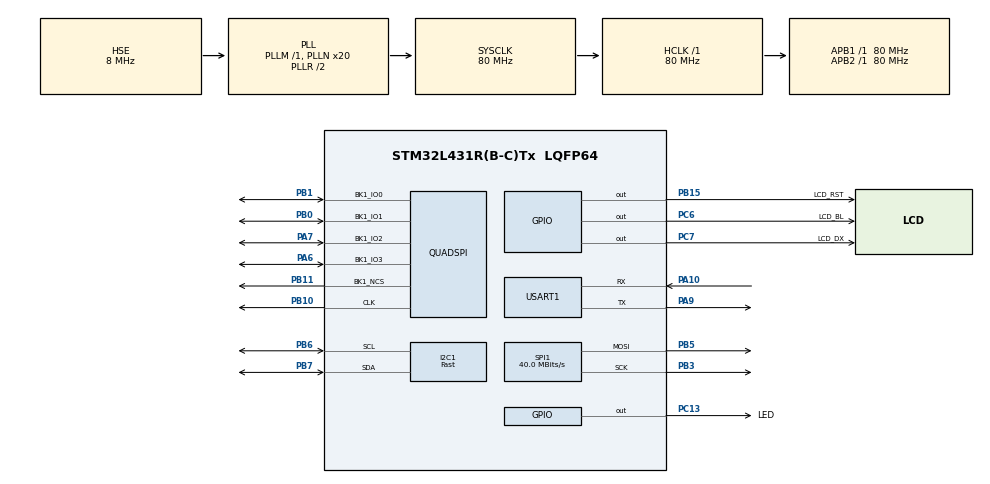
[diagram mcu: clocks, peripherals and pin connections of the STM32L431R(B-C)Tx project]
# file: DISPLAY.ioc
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Dma.Request0=SPI1_TX
Dma.SPI1_TX.0.Direction=DMA_MEMORY_TO_PERIPH
Dma.SPI1_TX.0.Instance=DMA1_Channel3
Dma.SPI1_TX.0.MemDataAlignment=DMA_MDATAALIGN_BYTE
Dma.SPI1_TX.0.MemInc=DMA_MINC_ENABLE
Dma.SPI1_TX.0.Mode=DMA_NORMAL
Dma.SPI1_TX.0.PeriphDataAlignment=DMA_PDATAALIGN_BYTE
Dma.SPI1_TX.0.PeriphInc=DMA_PINC_DISABLE
Dma.SPI1_TX.0.Priority=DMA_PRIORITY_LOW
I2C1.I2C_Speed_Mode=I2C_Fast
I2C1.Timing=0x00702991
Mcu.Family=STM32L4
Mcu.Name=STM32L431R(B-C)Tx
Mcu.Package=LQFP64
NVIC.DMA1_Channel3_IRQn=true\:0\:0\:false\:false\:true\:false\:true\:true
NVIC.PriorityGroup=NVIC_PRIORITYGROUP_4
NVIC.SPI1_IRQn=true\:0\:0\:false\:false\:true\:true\:true\:true
NVIC.TIM6_DAC_IRQn=true\:0\:0\:false\:false\:true\:true\:true\:true
NVIC.TIM7_IRQn=true\:15\:0\:false\:false\:true\:false\:true\:true
NVIC.TimeBase=TIM7_IRQn
NVIC.TimeBaseIP=TIM7
PA10.Mode=Asynchronous
PA10.Signal=USART1_RX
PA13\ (JTMS-SWDIO).Mode=Serial_Wire
PA13\ (JTMS-SWDIO).Signal=SYS_JTMS-SWDIO
PA14\ (JTCK-SWCLK).Mode=Serial_Wire
PA14\ (JTCK-SWCLK).Signal=SYS_JTCK-SWCLK
PA6.Mode=Single Bank 1
PA6.Signal=QUADSPI_BK1_IO3
PA7.Mode=Single Bank 1
PA7.Signal=QUADSPI_BK1_IO2
PA9.Mode=Asynchronous
PA9.Signal=USART1_TX
PB0.Mode=Single Bank 1
PB0.Signal=QUADSPI_BK1_IO1
PB1.Mode=Single Bank 1
PB1.Signal=QUADSPI_BK1_IO0
PB10.Mode=Single Bank 1
PB10.Signal=QUADSPI_CLK
PB11.Mode=Single Bank 1
PB11.Signal=QUADSPI_BK1_NCS
PB15.GPIO_Label=LCD_RST
PB15.GPIO_PuPd=GPIO_PULLUP
PB15.Signal=GPIO_Output
PB3\ (JTDO-TRACESWO).GPIO_PuPd=GPIO_PULLDOWN
PB3\ (JTDO-TRACESWO).Mode=TX_Only_Simplex_Unidirect_Master
PB3\ (JTDO-TRACESWO).Signal=SPI1_SCK
PB5.GPIO_PuPd=GPIO_PULLDOWN
PB5.Mode=TX_Only_Simplex_Unidirect_Master
PB5.Signal=SPI1_MOSI
PB6.Mode=I2C
PB6.Signal=I2C1_SCL
PB7.Mode=I2C
PB7.Signal=I2C1_SDA
PC13.GPIO_Label=LED
PC13.GPIO_PuPd=GPIO_PULLDOWN
PC13.PinState=GPIO_PIN_SET
PC13.Signal=GPIO_Output
PC6.GPIO_Label=LCD_BL
PC6.GPIO_PuPd=GPIO_PULLUP
PC6.Signal=GPIO_Output
PC7.GPIO_Label=LCD_DX
PC7.GPIO_PuPd=GPIO_PULLUP
PC7.GPIO_Speed=GPIO_SPEED_FREQ_VERY_HIGH
PC7.PinState=GPIO_PIN_SET
PC7.Signal=GPIO_Output
PH0-OSC_IN\ (PH0).Mode=HSE-External-Oscillator
PH0-OSC_IN\ (PH0).Signal=RCC_OSC_IN
PH1-OSC_OUT\ (PH1).Mode=HSE-External-Oscillator
PH1-OSC_OUT\ (PH1).Signal=RCC_OSC_OUT
ProjectManager.HeapSize=0x400
ProjectManager.StackSize=0x800
ProjectManager.TargetToolchain=MDK-ARM V5.32
QUADSPI.ChipSelectHighTime=QSPI_CS_HIGH_TIME_4_CYCLE
QUADSPI.ClockPrescaler=0
QUADSPI.FifoThreshold=4
QUADSPI.FlashSize=24
QUADSPI.SampleShifting=QSPI_SAMPLE_SHIFTING_HALFCYCLE
RCC.ADCFreq_Value=32000000
RCC.AHBFreq_Value=80000000
RCC.APB1Freq_Value=80000000
RCC.APB1TimFreq_Value=80000000
RCC.APB2Freq_Value=80000000
RCC.APB2TimFreq_Value=80000000
RCC.CortexFreq_Value=80000000
RCC.HCLKFreq_Value=80000000
RCC.HSE_VALUE=8000000
RCC.HSI48_VALUE=48000000
RCC.HSI_VALUE=16000000
RCC.LSE_VALUE=32768
RCC.MSI_VALUE=4000000
RCC.PLLN=20
RCC.PLLSourceVirtual=RCC_PLLSOURCE_HSE
RCC.SYSCLKFreq_VALUE=80000000
RCC.SYSCLKSource=RCC_SYSCLKSOURCE_PLLCLK
RCC.VCOOutputFreq_Value=160000000
SPI1.BaudRatePrescaler=SPI_BAUDRATEPRESCALER_2
SPI1.CLKPhase=SPI_PHASE_2EDGE
SPI1.CLKPolarity=SPI_POLARITY_HIGH
SPI1.CalculateBaudRate=40.0 MBits/s
SPI1.DataSize=SPI_DATASIZE_8BIT
SPI1.Direction=SPI_DIRECTION_2LINES
SPI1.Mode=SPI_MODE_MASTER
SPI1.VirtualType=VM_MASTER
TIM6.AutoReloadPreload=TIM_AUTORELOAD_PRELOAD_ENABLE
TIM6.Period=1000
TIM6.Prescaler=79
TIM6.TIM_MasterOutputTrigger=TIM_TRGO_ENABLE
USART1.VirtualMode-Asynchronous=VM_ASYNC
VP_CRC_VS_CRC.Mode=CRC_Activate
VP_SYS_VS_tim7.Mode=TIM7
VP_TIM6_VS_ClockSourceINT.Mode=Enable_Timer
board=custom

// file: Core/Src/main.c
/* USER CODE BEGIN Header */
/**
  ******************************************************************************
  * @file           : main.c
  * @brief          : Main program body
  ******************************************************************************
  * @attention
  *
  * <h2><center>&copy; Copyright (c) 2022 STMicroelectronics.
  * All rights reserved.</center></h2>
  *
  * This software component is licensed by ST under BSD 3-Clause license,
  * the "License"; You may not use this file except in compliance with the
  * License. You may obtain a copy of the License at:
  *                        opensource.org/licenses/BSD-3-Clause
  *
  ******************************************************************************
  */
/* USER CODE END Header */
#include "main.h"
#include "crc.h"
#include "dma.h"
#include "i2c.h"
#include "spi.h"
#include "tim.h"
#include "usart.h"
#include "gpio.h"

/* USER CODE BEGIN Includes */
#include "st7789.h"
#include "norflash.h"
#include "ns2009.h"
#include "stdio.h"
#include "quadspi.h"
#include "lvgl.h"
#include "disp.h"
#include "indev.h"
#include "../../UI/simple_demo.h"
/* USER CODE END Includes */

/* USER CODE BEGIN PV */
#ifdef __GNUC__
#define PUTCHAR_PROTOTYPE int __io_putchar(int ch)
#else
#define PUTCHAR_PROTOTYPE int fputc(int ch, FILE *f)
#endif
PUTCHAR_PROTOTYPE { HAL_UART_Transmit(&huart1 , (uint8_t *)&ch, 1, 0xFFFF); return ch; }

void toggle_led(void);

/* USER CODE END PV */

void SystemClock_Config(void);

int main(void)
{

  /* MCU Configuration--------------------------------------------------------*/

  /* Reset of all peripherals, Initializes the Flash interface and the Systick. */
  HAL_Init();

  /* Configure the system clock */
  SystemClock_Config();

  /* USER CODE BEGIN SysInit */
  MX_QUADSPI_Init();
	NORFLASH_Init();
  /* USER CODE END SysInit */

  /* Initialize all configured peripherals */
  MX_GPIO_Init();
  MX_DMA_Init();
  MX_SPI1_Init();
  MX_CRC_Init();
  MX_TIM6_Init();
  MX_I2C1_Init();
  MX_USART1_UART_Init();
  /* USER CODE BEGIN 2 */
	bsp_ns2009_init();
	ST7789_Init();
	HAL_TIM_Base_Start_IT(&htim6);

	lv_init();
	lv_disp_init();
	indev_init();

	simple_demo();

  /* USER CODE END 2 */

  /* Infinite loop */
  /* USER CODE BEGIN WHILE */
  while (1)
  {
		lv_timer_handler();
		HAL_Delay(2);
    /* USER CODE END WHILE */

  }
}

void SystemClock_Config(void)
{
  RCC_OscInitTypeDef RCC_OscInitStruct = {0};
  RCC_ClkInitTypeDef RCC_ClkInitStruct = {0};

  /** Configure the main internal regulator output voltage
  */
  if (HAL_PWREx_ControlVoltageScaling(PWR_REGULATOR_VOLTAGE_SCALE1) != HAL_OK)
  {
    Error_Handler();
  }

  /** Initializes the RCC Oscillators according to the specified parameters
  * in the RCC_OscInitTypeDef structure.
  */
  RCC_OscInitStruct.OscillatorType = RCC_OSCILLATORTYPE_HSE;
  RCC_OscInitStruct.HSEState = RCC_HSE_ON;
  RCC_OscInitStruct.PLL.PLLState = RCC_PLL_ON;
  RCC_OscInitStruct.PLL.PLLSource = RCC_PLLSOURCE_HSE;
  RCC_OscInitStruct.PLL.PLLM = 1;
  RCC_OscInitStruct.PLL.PLLN = 20;
  RCC_OscInitStruct.PLL.PLLP = RCC_PLLP_DIV7;
  RCC_OscInitStruct.PLL.PLLQ = RCC_PLLQ_DIV2;
  RCC_OscInitStruct.PLL.PLLR = RCC_PLLR_DIV2;
  if (HAL_RCC_OscConfig(&RCC_OscInitStruct) != HAL_OK)
  {
    Error_Handler();
  }

  /** Initializes the CPU, AHB and APB buses clocks
  */
  RCC_ClkInitStruct.ClockType = RCC_CLOCKTYPE_HCLK|RCC_CLOCKTYPE_SYSCLK
                              |RCC_CLOCKTYPE_PCLK1|RCC_CLOCKTYPE_PCLK2;
  RCC_ClkInitStruct.SYSCLKSource = RCC_SYSCLKSOURCE_PLLCLK;
  RCC_ClkInitStruct.AHBCLKDivider = RCC_SYSCLK_DIV1;
  RCC_ClkInitStruct.APB1CLKDivider = RCC_HCLK_DIV1;
  RCC_ClkInitStruct.APB2CLKDivider = RCC_HCLK_DIV1;

  if (HAL_RCC_ClockConfig(&RCC_ClkInitStruct, FLASH_LATENCY_4) != HAL_OK)
  {
    Error_Handler();
  }
}

/* USER CODE BEGIN 4 */
void toggle_led(void)
{
	HAL_GPIO_TogglePin(LED_GPIO_Port,LED_Pin);
}
/* USER CODE END 4 */

void HAL_TIM_PeriodElapsedCallback(TIM_HandleTypeDef *htim)
{
  /* USER CODE BEGIN Callback 0 */
static int counter=0;
  /* USER CODE END Callback 0 */
  if (htim->Instance == TIM7) {
    HAL_IncTick();
  }
  /* USER CODE BEGIN Callback 1 */

  else if (htim->Instance == TIM6)
	{
		lv_tick_inc(1);
		if(++counter%200==0)
				toggle_led();
  }
  /* USER CODE END Callback 1 */
}

void Error_Handler(void)
{
  __disable_irq();
  while (1)
  {
  }
}
